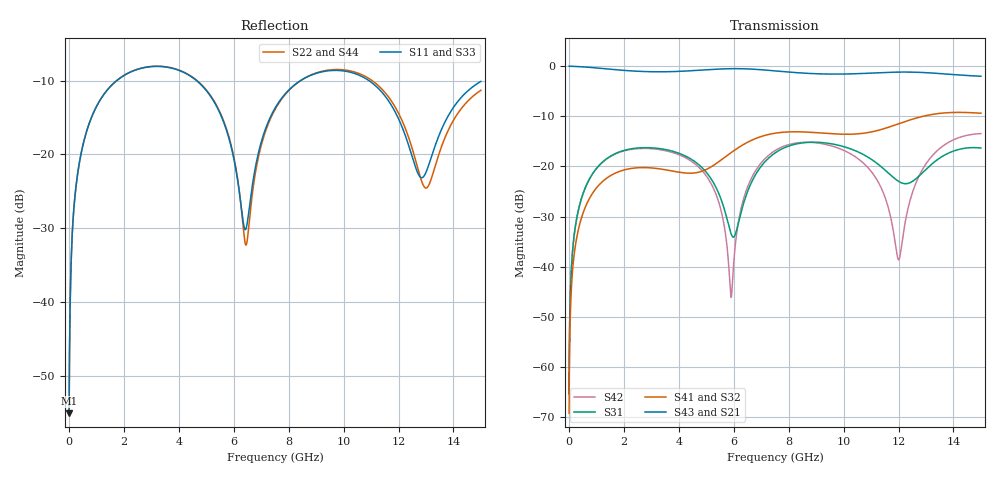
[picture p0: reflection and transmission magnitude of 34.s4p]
! Created with skrf 1.8.0 (http://scikit-rf.org).
# GHz S RI R 50.0
!freq ReS11 ImS11 ReS12 ImS12 ReS13 ImS13
! ReS14 ImS14
! ReS21 ImS21 ReS22 ImS22 ReS23 ImS23
! ReS24 ImS24
! ReS31 ImS31 ReS32 ImS32 ReS33 ImS33
! ReS34 ImS34
! ReS41 ImS41 ReS42 ImS42 ReS43 ImS43
! ReS44 ImS44
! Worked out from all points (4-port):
!   2499 points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, 5 MHz to 15 GHz, reference 50 ohm
!   strongest paths, dB at 5 MHz, 3.476 GHz, 7.19 GHz, 11.1 GHz, 15 GHz:
!     S43: 0.0, -1.1, -0.8, -1.4, -2.0
!     S21: 0.0, -1.1, -0.8, -1.4, -2.0
!     S41: -69.2, -20.6, -13.7, -13.0, -9.4
!     S32: -69.2, -20.6, -13.7, -13.0, -9.4
!     S31: -65.3, -16.6, -18.8, -18.9, -16.3
!     S42: -65.3, -16.8, -18.2, -21.7, -13.4
!   lowest |S11| = -55.1 dB at 5 MHz (marker M1), VSWR 1.00, Z = 50.1 + j0.107 ohm
!   |S11| at or under -10 dB: start of sweep to 1.74 GHz; 4.644 GHz to 8.432 GHz (3.788 GHz wide, 57.9 % of centre); 10.92 GHz to end of sweep
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0.005  0.0014 0.00107  0.9986 -0.00273  6.91e-05 0.000542  -6.72e-05 -0.000341
       0.9986 -0.00273  0.0014 0.00107  -6.72e-05 -0.000341  6.91e-05 0.000542
       6.91e-05 0.000542  -6.72e-05 -0.000341  0.0014 0.00107  0.9986 -0.00272
       -6.72e-05 -0.000341  6.91e-05 0.000542  0.9986 -0.00272  0.0014 0.00107
0.3626511  0.023 0.0811  0.9684 -0.1963  0.0106 0.0373  -0.00874 -0.0233
           0.9684 -0.1963  0.023 0.0811  -0.00873 -0.0233  0.0103 0.0374
           0.0106 0.0373  -0.00873 -0.0233  0.023 0.0811  0.9684 -0.1963
           -0.00874 -0.0233  0.0103 0.0374  0.9684 -0.1963  0.023 0.0811
1.619545  0.2348 0.1905  0.622 -0.6842  0.1136 0.0663  -0.0823 -0.0176
          0.622 -0.6842  0.2359 0.1899  -0.0822 -0.0177  0.11 0.0703
          0.1136 0.0663  -0.0822 -0.0177  0.2348 0.1905  0.6221 -0.6842
          -0.0823 -0.0176  0.11 0.0703  0.6221 -0.6842  0.2358 0.1899
6.433931  0.031 0.00132  -0.9377 -0.0543  -0.00662 0.0493  -0.00468 0.1703
          -0.9377 -0.0543  0.0241 -0.00337  -0.00549 0.1702  0.0164 0.0529
          -0.00662 0.0493  -0.00549 0.1702  0.0321 0.00314  -0.9377 -0.054
          -0.00468 0.1703  0.0164 0.0529  -0.9377 -0.054  0.0228 -0.0017
10.41684  0.3405 -0.0915  0.1789 0.8209  0.0839 -0.117  0.1891 -0.0927
          0.1789 0.8209  0.3469 -0.0992  0.1894 -0.09  0.0928 -0.0845
          0.0839 -0.117  0.1894 -0.09  0.3431 -0.0948  0.1773 0.8201
          0.1891 -0.0927  0.0928 -0.0845  0.1773 0.8201  0.3502 -0.0962
12.005  0.124 -0.1215  0.7239 0.4869  -0.0613 -0.0359  0.1425 -0.225
        0.7239 0.4869  0.1241 -0.1431  0.1456 -0.2231  -0.0117 -0.00133
        -0.0613 -0.0359  0.1456 -0.2231  0.1245 -0.1262  0.7216 0.489
        0.1425 -0.225  -0.0117 -0.00133  0.7216 0.489  0.129 -0.1446
15  0.2873 0.1222  0.5121 -0.6031  0.1497 0.0307  -0.2933 -0.171
    0.5121 -0.6031  0.2457 0.1165  -0.2906 -0.1744  0.2104 -0.0312
    0.1497 0.0307  -0.2906 -0.1744  0.2849 0.1206  0.5157 -0.6018
    -0.2933 -0.171  0.2104 -0.0312  0.5157 -0.6018  0.2409 0.1158
